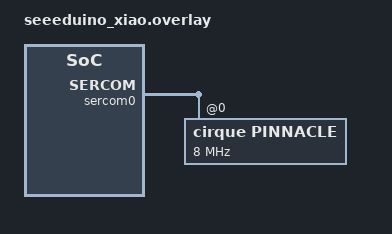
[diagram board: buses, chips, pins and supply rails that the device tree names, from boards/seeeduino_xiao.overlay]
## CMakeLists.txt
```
# SPDX-License-Identifier: Apache-2.0

cmake_minimum_required(VERSION 3.13.1)
find_package(Zephyr REQUIRED HINTS $ENV{ZEPHYR_BASE})
project(cirque)

target_sources(app PRIVATE src/main.c)
```

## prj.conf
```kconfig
CONFIG_GPIO=y
CONFIG_SPI=y

    
CONFIG_PRINTK=y
CONFIG_UART_CONSOLE_ON_DEV_NAME="CDC_ACM_0"
CONFIG_STDOUT_CONSOLE=y
CONFIG_USB=y
CONFIG_USB_DEVICE_STACK=y
CONFIG_USB_DEVICE_PRODUCT="Zephyr CDC ACM sample"
CONFIG_LOG=y
CONFIG_USB_UART_CONSOLE=y
CONFIG_USB_DRIVER_LOG_LEVEL_ERR=y
CONFIG_USB_CDC_ACM=y
CONFIG_USB_DEVICE_LOG_LEVEL_ERR=y
# CONFIG_SERIAL=y
# CONFIG_UART_INTERRUPT_DRIVEN=y
# CONFIG_UART_LINE_CTRL=y
```

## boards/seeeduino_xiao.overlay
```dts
/*
 * Copyright (c) 2019 Linaro Limited
 *
 * SPDX-License-Identifier: Apache-2.0
 */

&sercom0 {
    cs-gpios = <&porta 7 GPIO_ACTIVE_LOW>;
    cirque: cirque@0 {
        spi-max-frequency = <8000000>;
        compatible = "cirque,pinnacle";
        reg = <0>;
        label = "CIRQUE";
        /* irq-gpios = <&gpio0 1 1>; */
    };
};
```

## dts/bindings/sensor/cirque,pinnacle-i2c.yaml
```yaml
# Copyright (c) 2021 Jeremy Kitchen
# SPDX-License-Identifier: Apache-2.0

compatible: "cirque,pinnacle"

description: |
    Cirque Pinnacle controller for Glidepoint trackpads

include: i2c-device.yaml
properties:
    irq-gpios:
        type: phandle-array
        required: false
        description: HW_DR (hardware data ready) pin

            This pin goes high when there is touch data ready to be sent
            by the trackpad.
```

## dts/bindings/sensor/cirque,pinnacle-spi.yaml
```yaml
# Copyright (c) 2021 Jeremy Kitchen
# SPDX-License-Identifier: Apache-2.0

compatible: "cirque,pinnacle"

description: |
    Cirque Pinnacle controller for Glidepoint trackpads

include: spi-device.yaml
properties:
    irq-gpios:
        type: phandle-array
        required: false
        description: HW_DR (hardware data ready) pin

            This pin goes high when there is touch data ready to be sent
            by the trackpad.
```

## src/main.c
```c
/*
 * Copyright (c) 2016 Intel Corporation
 *
 * SPDX-License-Identifier: Apache-2.0
 */
#include <zephyr.h>
#include <device.h>
#include <devicetree.h>
#include <drivers/gpio.h>
#include <drivers/spi.h>
#include <usb/usb_device.h>

#include <logging/log.h>
LOG_MODULE_REGISTER(app, LOG_LEVEL_DBG);

#define CIRQUE_NODE DT_NODELABEL(cirque)
#define FOO DT_PROP(CIRQUE_NODE, label)

void main(void)
{
	int ret = usb_enable(NULL);
	if (ret != 0) {
		LOG_ERR("Failed to enable USB");
		return;
	}

	LOG_INF("node label: %s", FOO);
	
	const struct device *cirque;
	cirque = device_get_binding(DT_LABEL(CIRQUE_NODE));
	if (cirque == NULL) {
		LOG_ERR("couldn't get device binding for cirque device");
		return;
	}



	/* static struct spi_dt_spec *spec = SPI_DT_SPEC_GET(CIRQUE_NODE, 0, 0) */
	/* const struct spi_dt_spec config = SPI_DT_SPEC_GET(CIRQUE_NODE, 0, 0); */
	/* uint8_t buf[1]; */
	/* const struct spi_buf rx_buf = { */
	/* 	.buf = buf, */
	/* 	.len = 1 */
	/* }; */

	/* const struct spi_buf_set rx = { */
	/* 	.buffers = &rx_buf, */
	/* 	.count = 1 */
	/* }; */
	

	/* printk("about to read from the spi bus maybe!!!\n"); */
	/* if (spi_read(cirque, config, rx) != 0) { */
	/* 	printk("spi_read returned non-zero\n"); */
	/* } else { */
	/* 	printk("spi_read returned zero, yay, value read: %x\n", buf[0]); */
	/* } */





	


	
	/* const struct device *hw_dr; */
	/* hw_dr = device_get_binding(CIRQUE_IRQ); */
	/* if (hw_dr == NULL) { */
	/* 	return; */
	/* } */

	/* ret = gpio_pin_configure(dev, PIN, GPIO_OUTPUT_ACTIVE | FLAGS); */
	/* if (ret < 0) { */
	/* 	return; */
	/* } */

	/* while (1) { */
	/* 	gpio_pin_set(dev, PIN, (int)led_is_on); */
	/* 	led_is_on = !led_is_on; */
	/* 	k_msleep(SLEEP_TIME_MS); */
	/* } */
}
```
